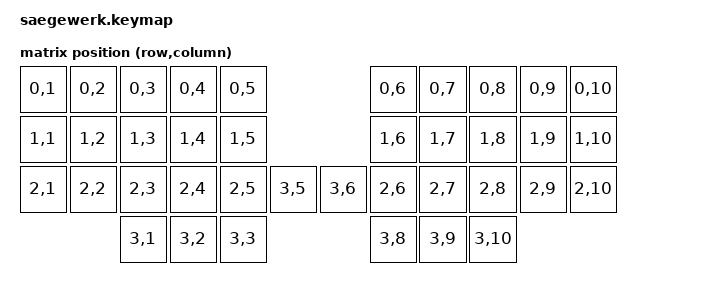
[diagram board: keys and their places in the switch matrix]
#include <dt-bindings/zmk/matrix_transform.h>

&default_transform {
    map = <
        RC(0,1) RC(0,2) RC(0,3) RC(0,4) RC(0,5)                 RC(0,6) RC(0,7) RC(0,8) RC(0,9) RC(0,10)
        RC(1,1) RC(1,2) RC(1,3) RC(1,4) RC(1,5)                 RC(1,6) RC(1,7) RC(1,8) RC(1,9) RC(1,10)
        RC(2,1) RC(2,2) RC(2,3) RC(2,4) RC(2,5) RC(3,5) RC(3,6) RC(2,6) RC(2,7) RC(2,8) RC(2,9) RC(2,10)
                        RC(3,1) RC(3,2) RC(3,3)                 RC(3,8) RC(3,9) RC(3,10)
    >;
};

#define ___ &none

#define LT4 0
#define LT3 1
#define LT2 2
#define LT1 3
#define LT0 4
#define RT0 5
#define RT1 6
#define RT2 7
#define RT3 8
#define RT4 9

#define LM4 10
#define LM3 11
#define LM2 12
#define LM1 13
#define LM0 14
#define RM0 15
#define RM1 16
#define RM2 17
#define RM3 18
#define RM4 19

#define LB4 20
#define LB3 21
#define LB2 22
#define LB1 23
#define LB0 24
#define RB0 27
#define RB1 28
#define RB2 29
#define RB3 30
#define RB4 31

#define LH2 33
#define LH1 34
#define RH1 35
#define RH2 36

#define THUMBS LH2 LH1 RH1 RH2

#define ZMK_BASE_LAYER(name, LT, RT, LM, RM, LB, RB, LH, RH) \
    ZMK_LAYER(name, \
        LT RT \
        LM RM \
        LB ___ ___ RB \
        ___ LH RH ___ \
    )

#include "base.keymap"
